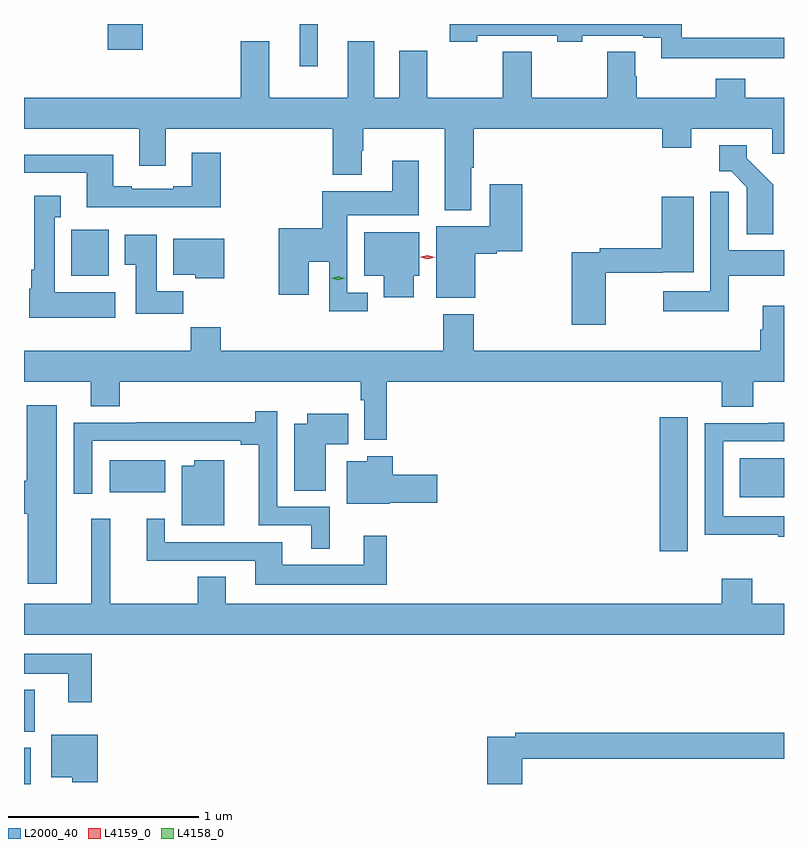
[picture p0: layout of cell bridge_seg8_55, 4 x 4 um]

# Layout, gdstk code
import gdstk
lib = gdstk.Library(unit=1e-6, precision=1e-09)
def R(c, l, rs):  # rectangles x0, y0, x1, y1
    for r in rs: c.add(gdstk.rectangle(r[:2], r[2:], *l))
def P(c, l, *ps):  # polygons
    for p in ps: c.add(gdstk.Polygon(p, *l))
L2000_40 = (2000, 40)
L4158_0 = (4158, 0)
L4159_0 = (4159, 0)

bridge_seg8_55 = lib.new_cell('bridge_seg8_55')
R(bridge_seg8_55, L2000_40, [(1076.645,1115.715,1076.68,1115.906), (1076.645,1115.991,1076.701,1116.211), (1079.99,1116.939,1080.139,1117.645), (1080.413,1117.223,1080.645,1117.429), (1077.095,1117.25,1077.388,1117.42), (1076.894,1118.39,1077.091,1118.632), (1078.095,1119.492,1078.192,1119.715), (1077.086,1119.579,1077.269,1119.715)])
P(bridge_seg8_55, L2000_40, [(1080.645,1119.643),(1080.106,1119.643),(1080.106,1119.715),(1078.887,1119.715),(1078.887,1119.622),(1079.031,1119.622),(1079.031,1119.654),(1079.451,1119.654),(1079.451,1119.622),(1079.583,1119.622),(1079.583,1119.654),(1079.903,1119.654),(1079.903,1119.642),(1079.999,1119.642),(1079.999,1119.536),(1080.645,1119.536)],
  [(1078.349,1119.625),(1078.349,1119.328),(1077.937,1119.328),(1077.937,1119.625),(1077.785,1119.625),(1077.785,1119.328),(1076.645,1119.328),(1076.645,1119.164),(1077.251,1119.164),(1077.251,1118.97),(1077.391,1118.97),(1077.391,1119.164),(1078.271,1119.164),(1078.271,1118.921),(1078.423,1118.921),(1078.423,1119.048),(1078.431,1119.048),(1078.431,1119.164),(1078.859,1119.164),(1078.859,1118.735),(1078.999,1118.735),(1078.999,1118.959),(1079.012,1118.959),(1079.012,1119.164),(1080.005,1119.164),(1080.005,1119.065),(1080.157,1119.065),(1080.157,1119.164),(1080.582,1119.164),(1080.582,1119.033),(1080.645,1119.033),(1080.645,1119.328),(1080.441,1119.328),(1080.441,1119.427),(1080.286,1119.427),(1080.286,1119.328),(1079.871,1119.328),(1079.871,1119.44),(1079.863,1119.44),(1079.863,1119.569),(1079.716,1119.569),(1079.716,1119.328),(1079.318,1119.328),(1079.318,1119.569),(1079.164,1119.569),(1079.164,1119.328),(1078.767,1119.328),(1078.767,1119.574),(1078.619,1119.574),(1078.619,1119.328),(1078.489,1119.328),(1078.489,1119.625)],
  [(1080.589,1118.87),(1080.45,1119.009),(1080.45,1119.076),(1080.303,1119.076),(1080.303,1118.939),(1080.367,1118.939),(1080.45,1118.856),(1080.45,1118.609),(1080.589,1118.609)],
  [(1077.68,1119.037),(1077.527,1119.037),(1077.527,1118.86),(1077.431,1118.86),(1077.431,1118.847),(1077.211,1118.847),(1077.211,1118.86),(1077.115,1118.86),(1077.115,1119.028),(1076.645,1119.028),(1076.645,1118.931),(1076.975,1118.931),(1076.975,1118.75),(1077.68,1118.75)],
  [(1078.453,1118.301),(1078.347,1118.301),(1078.347,1118.708),(1078.723,1118.708),(1078.723,1118.995),(1078.583,1118.995),(1078.583,1118.836),(1078.214,1118.836),(1078.214,1118.641),(1077.986,1118.641),(1077.986,1118.289),(1078.144,1118.289),(1078.144,1118.465),(1078.251,1118.465),(1078.251,1118.204),(1078.453,1118.204)],
  [(1079.02,1118.507),(1079.133,1118.507),(1079.133,1118.519),(1079.267,1118.519),(1079.267,1118.872),(1079.096,1118.872),(1079.096,1118.65),(1078.814,1118.65),(1078.814,1118.273),(1079.02,1118.273)],
  [(1080.355,1118.39),(1080.645,1118.39),(1080.645,1118.524),(1080.354,1118.524),(1080.354,1118.832),(1080.258,1118.832),(1080.258,1118.308),(1080.009,1118.308),(1080.009,1118.204),(1080.355,1118.204)],
  [(1077.124,1118.302),(1076.806,1118.302),(1076.806,1118.699),(1076.839,1118.699),(1076.839,1118.812),(1076.699,1118.812),(1076.699,1118.422),(1076.684,1118.422),(1076.684,1118.322),(1076.672,1118.322),(1076.672,1118.168),(1077.124,1118.168)],
  [(1079.706,1118.406),(1080.006,1118.406),(1080.006,1118.408),(1080.169,1118.408),(1080.169,1118.806),(1080.002,1118.806),(1080.002,1118.534),(1079.674,1118.534),(1079.674,1118.514),(1079.528,1118.514),(1079.528,1118.133),(1079.706,1118.133)],
  [(1078.696,1118.39),(1078.726,1118.39),(1078.726,1118.62),(1078.436,1118.62),(1078.436,1118.39),(1078.538,1118.39),(1078.538,1118.276),(1078.696,1118.276)],
  [(1077.482,1118.308),(1077.343,1118.308),(1077.343,1118.605),(1077.176,1118.605),(1077.176,1118.449),(1077.233,1118.449),(1077.233,1118.19),(1077.482,1118.19)],
  [(1077.7,1118.584),(1077.431,1118.584),(1077.431,1118.396),(1077.546,1118.396),(1077.546,1118.378),(1077.7,1118.378)],
  [(1078.553,1117.832),(1080.317,1117.832),(1080.317,1117.701),(1080.482,1117.701),(1080.482,1117.832),(1080.645,1117.832),(1080.645,1118.233),(1080.533,1118.233),(1080.533,1118.106),(1080.521,1118.106),(1080.521,1117.996),(1079.012,1117.996),(1079.012,1118.188),(1078.852,1118.188),(1078.852,1117.996),(1077.68,1117.996),(1077.68,1118.12),(1077.523,1118.12),(1077.523,1117.996),(1076.645,1117.996),(1076.645,1117.832),(1076.996,1117.832),(1076.996,1117.702),(1077.149,1117.702),(1077.149,1117.832),(1078.417,1117.832),(1078.417,1117.736),(1078.437,1117.736),(1078.437,1117.526),(1078.553,1117.526)],
  [(1076.818,1117.708),(1076.66,1117.708),(1076.66,1117.31),(1076.645,1117.31),(1076.645,1117.138),(1076.665,1117.138),(1076.665,1116.768),(1076.818,1116.768)],
  [(1078.255,1117.173),(1077.978,1117.173),(1077.978,1117.678),(1077.862,1117.678),(1077.862,1117.619),(1077.232,1117.619),(1077.232,1117.617),(1076.907,1117.617),(1076.907,1117.242),(1077.003,1117.242),(1077.003,1117.521),(1077.785,1117.521),(1077.785,1117.501),(1077.881,1117.501),(1077.881,1117.077),(1078.157,1117.077),(1078.157,1116.953),(1078.255,1116.953)],
  [(1078.234,1117.502),(1078.352,1117.502),(1078.352,1117.663),(1078.136,1117.663),(1078.136,1117.612),(1078.067,1117.612),(1078.067,1117.258),(1078.234,1117.258)],
  [(1080.645,1117.125),(1080.324,1117.125),(1080.324,1117.518),(1080.645,1117.518),(1080.645,1117.616),(1080.565,1117.616),(1080.565,1117.614),(1080.228,1117.614),(1080.228,1117.027),(1080.614,1117.027),(1080.614,1117.017),(1080.645,1117.017)],
  [(1078.569,1117.196),(1078.819,1117.196),(1078.819,1117.343),(1078.586,1117.343),(1078.586,1117.441),(1078.452,1117.441),(1078.452,1117.414),(1078.343,1117.414),(1078.343,1117.19),(1078.569,1117.19)],
  [(1077.7,1117.42),(1077.542,1117.42),(1077.542,1117.39),(1077.476,1117.39),(1077.476,1117.076),(1077.7,1117.076)],
  [(1078.555,1117.021),(1078.433,1117.021),(1078.433,1116.868),(1078.003,1116.868),(1078.003,1116.987),(1077.387,1116.987),(1077.387,1117.111),(1077.29,1117.111),(1077.29,1116.891),(1077.863,1116.891),(1077.863,1116.764),(1078.555,1116.764)],
  [(1080.645,1116.664),(1080.477,1116.664),(1080.477,1116.796),(1080.317,1116.796),(1080.317,1116.664),(1077.706,1116.664),(1077.706,1116.806),(1077.559,1116.806),(1077.559,1116.664),(1077.098,1116.664),(1077.098,1117.111),(1076.999,1117.111),(1076.999,1116.664),(1076.645,1116.664),(1076.645,1116.5),(1080.645,1116.5)],
  [(1077.001,1116.4),(1076.645,1116.4),(1076.645,1116.296),(1076.879,1116.296),(1076.879,1116.144),(1077.001,1116.144)],
  [(1079.267,1115.848),(1080.645,1115.848),(1080.645,1115.984),(1079.23,1115.984),(1079.23,1115.964),(1079.084,1115.964),(1079.084,1115.715),(1079.267,1115.715)],
  [(1077.034,1115.974),(1076.789,1115.974),(1076.789,1115.75),(1076.898,1115.75),(1076.898,1115.723),(1077.034,1115.723)])
P(bridge_seg8_55, L4158_0, [(1078.298,1118.367),(1078.262,1118.377),(1078.262,1118.377),(1078.262,1118.378),(1078.298,1118.387),(1078.334,1118.378),(1078.334,1118.377),(1078.334,1118.377)])
P(bridge_seg8_55, L4159_0, [(1078.77,1118.478),(1078.732,1118.488),(1078.732,1118.489),(1078.732,1118.489),(1078.77,1118.498),(1078.808,1118.488),(1078.809,1118.488),(1078.808,1118.488)])

lib.write_gds('bridge_seg8_55.gds')
